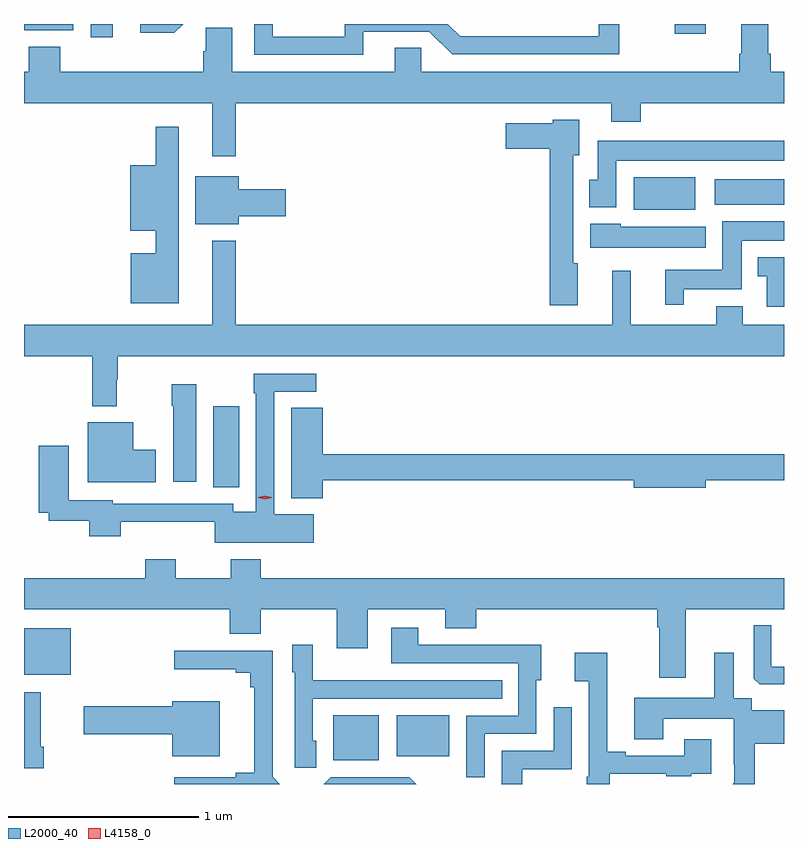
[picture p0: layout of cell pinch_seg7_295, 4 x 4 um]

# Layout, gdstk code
import gdstk
lib = gdstk.Library(unit=1e-6, precision=1e-09)
def R(c, l, rs):  # rectangles x0, y0, x1, y1
    for r in rs: c.add(gdstk.rectangle(r[:2], r[2:], *l))
def P(c, l, *ps):  # polygons
    for p in ps: c.add(gdstk.Polygon(p, *l))
L2000_40 = (2000, 40)
L4158_0 = (4158, 0)

pinch_seg7_295 = lib.new_cell('pinch_seg7_295')
R(pinch_seg7_295, L2000_40, [(556.259,1050.437,556.498,1050.673), (556.592,1050.458,556.87,1050.673), (554.631,1050.887,554.878,1051.132), (555.626,1051.873,555.763,1052.299), (557.84,1053.335,558.163,1053.505), (558.267,1053.362,558.631,1053.496), (554.982,1054.242,555.097,1054.312), (558.055,1054.26,558.22,1054.312), (554.631,1054.278,554.889,1054.312)])
P(pinch_seg7_295, L2000_40, [(556.417,1054.272),(556.764,1054.272),(556.884,1054.152),(557.764,1054.152),(557.764,1054.312),(557.655,1054.312),(557.655,1054.248),(556.926,1054.248),(556.862,1054.312),(556.32,1054.312),(556.32,1054.245),(555.939,1054.245),(555.939,1054.312),(555.843,1054.312),(555.843,1054.149),(556.417,1054.149)],
  [(555.468,1054.312),(555.243,1054.312),(555.243,1054.265),(555.421,1054.265)],
  [(555.745,1053.896),(557.723,1053.896),(557.723,1053.797),(557.876,1053.797),(557.876,1053.896),(558.631,1053.896),(558.631,1054.06),(558.56,1054.06),(558.56,1054.156),(558.547,1054.156),(558.547,1054.312),(558.407,1054.312),(558.407,1054.156),(558.395,1054.156),(558.395,1054.06),(556.722,1054.06),(556.722,1054.187),(556.583,1054.187),(556.583,1054.06),(555.727,1054.06),(555.727,1054.292),(555.588,1054.292),(555.588,1054.169),(555.575,1054.169),(555.575,1054.06),(554.822,1054.06),(554.822,1054.193),(554.657,1054.193),(554.657,1054.06),(554.631,1054.06),(554.631,1053.896),(555.623,1053.896),(555.623,1053.615),(555.745,1053.615)],
  [(557.545,1053.054),(557.521,1053.054),(557.521,1053.621),(557.554,1053.621),(557.554,1053.808),(557.415,1053.808),(557.415,1053.79),(557.166,1053.79),(557.166,1053.656),(557.399,1053.656),(557.399,1052.832),(557.545,1052.832)],
  [(555.445,1053.772),(555.324,1053.772),(555.324,1053.568),(555.191,1053.568),(555.191,1053.224),(555.324,1053.224),(555.324,1053.106),(555.194,1053.106),(555.194,1052.843),(555.445,1052.843)],
  [(557.748,1053.593),(558.631,1053.593),(558.631,1053.697),(557.651,1053.697),(557.651,1053.492),(557.606,1053.492),(557.606,1053.348),(557.748,1053.348)],
  [(555.76,1053.299),(556.009,1053.299),(556.009,1053.441),(555.76,1053.441),(555.76,1053.511),(555.533,1053.511),(555.533,1053.257),(555.76,1053.257)],
  [(558.103,1052.915),(558.409,1052.915),(558.409,1053.17),(558.631,1053.17),(558.631,1053.274),(558.305,1053.274),(558.305,1053.019),(558.005,1053.019),(558.005,1052.835),(558.103,1052.835)],
  [(558.22,1053.244),(557.772,1053.244),(557.772,1053.262),(557.61,1053.262),(557.61,1053.134),(558.22,1053.134)],
  [(555.118,1052.441),(555.125,1052.441),(555.125,1052.564),(558.631,1052.564),(558.631,1052.728),(558.415,1052.728),(558.415,1052.827),(558.275,1052.827),(558.275,1052.728),(557.825,1052.728),(557.825,1053.013),(557.726,1053.013),(557.726,1052.728),(555.745,1052.728),(555.745,1053.172),(555.623,1053.172),(555.623,1052.728),(554.631,1052.728),(554.631,1052.564),(554.989,1052.564),(554.989,1052.301),(555.118,1052.301)],
  [(558.631,1053.085),(558.494,1053.085),(558.494,1052.985),(558.54,1052.985),(558.54,1052.823),(558.631,1052.823)],
  [(556.156,1051.732),(555.948,1051.732),(555.948,1052.376),(556.168,1052.376),(556.168,1052.472),(555.84,1052.472),(555.84,1052.369),(555.852,1052.369),(555.852,1051.744),(555.732,1051.744),(555.732,1051.788),(555.099,1051.788),(555.099,1051.806),(554.866,1051.806),(554.866,1052.092),(554.708,1052.092),(554.708,1051.739),(554.762,1051.739),(554.762,1051.698),(554.975,1051.698),(554.975,1051.616),(555.14,1051.616),(555.14,1051.691),(555.636,1051.691),(555.636,1051.583),(556.156,1051.583)],
  [(555.538,1052.416),(555.409,1052.416),(555.409,1052.303),(555.416,1052.303),(555.416,1051.902),(555.538,1051.902)],
  [(556.204,1051.912),(557.84,1051.912),(557.84,1051.87),(558.22,1051.87),(558.22,1051.912),(558.631,1051.912),(558.631,1052.048),(556.204,1052.048),(556.204,1052.291),(556.037,1052.291),(556.037,1051.817),(556.204,1051.817)],
  [(555.325,1052.072),(555.205,1052.072),(555.205,1052.215),(554.966,1052.215),(554.966,1051.901),(555.325,1051.901)],
  [(558.115,1051.232),(558.631,1051.232),(558.631,1051.396),(555.878,1051.396),(555.878,1051.495),(555.718,1051.495),(555.718,1051.396),(555.429,1051.396),(555.429,1051.495),(555.269,1051.495),(555.269,1051.396),(554.631,1051.396),(554.631,1051.232),(555.713,1051.232),(555.713,1051.104),(555.877,1051.104),(555.877,1051.232),(556.277,1051.232),(556.277,1051.026),(556.441,1051.026),(556.441,1051.232),(556.847,1051.232),(556.847,1051.133),(557.011,1051.133),(557.011,1051.232),(557.963,1051.232),(557.963,1051.136),(557.975,1051.136),(557.975,1050.87),(558.115,1050.87)],
  [(558.631,1050.93),(558.564,1050.93),(558.564,1051.147),(558.471,1051.147),(558.471,1050.867),(558.503,1050.836),(558.631,1050.836)],
  [(557.055,1050.576),(557.328,1050.576),(557.328,1050.858),(557.353,1050.858),(557.353,1051.046),(557.135,1051.046),(557.135,1051.044),(556.705,1051.044),(556.705,1051.135),(556.565,1051.135),(556.565,1050.948),(557.232,1050.948),(557.232,1050.672),(556.959,1050.672),(556.959,1050.348),(557.055,1050.348)],
  [(556.168,1050.54),(556.152,1050.54),(556.152,1050.762),(557.147,1050.762),(557.147,1050.858),(556.469,1050.858),(556.469,1050.859),(556.152,1050.859),(556.152,1051.045),(556.043,1051.045),(556.043,1050.9),(556.056,1050.9),(556.056,1050.397),(556.168,1050.397)],
  [(556.659,1050.348),(556.245,1050.348),(556.209,1050.312),(556.695,1050.312)],
  [(558.477,1050.525),(558.631,1050.525),(558.631,1050.7),(558.462,1050.7),(558.462,1050.764),(558.367,1050.764),(558.367,1051.003),(558.263,1051.003),(558.263,1050.766),(557.843,1050.766),(557.843,1050.547),(557.995,1050.547),(557.995,1050.656),(558.366,1050.656),(558.366,1050.415),(558.368,1050.415),(558.368,1050.32),(558.36,1050.312),(558.477,1050.312)],
  [(557.713,1050.365),(558.011,1050.365),(558.011,1050.354),(558.143,1050.354),(558.143,1050.366),(558.247,1050.366),(558.247,1050.547),(558.107,1050.547),(558.107,1050.462),(557.797,1050.462),(557.797,1050.481),(557.701,1050.481),(557.701,1051.003),(557.529,1051.003),(557.529,1050.854),(557.604,1050.854),(557.604,1050.349),(557.592,1050.349),(557.592,1050.312),(557.713,1050.312)],
  [(554.735,1050.508),(554.718,1050.508),(554.718,1050.796),(554.631,1050.796),(554.631,1050.396),(554.735,1050.396)],
  [(555.661,1050.748),(555.41,1050.748),(555.41,1050.722),(554.946,1050.722),(554.946,1050.575),(555.41,1050.575),(555.41,1050.458),(555.661,1050.458)],
  [(557.253,1050.389),(557.514,1050.389),(557.514,1050.715),(557.418,1050.715),(557.418,1050.486),(557.145,1050.486),(557.145,1050.315),(557.142,1050.312),(557.253,1050.312)],
  [(555.939,1051.014),(555.423,1051.014),(555.423,1050.917),(555.746,1050.917),(555.746,1050.898),(555.823,1050.898),(555.823,1050.821),(555.842,1050.821),(555.842,1050.371),(555.746,1050.371),(555.746,1050.348),(555.423,1050.348),(555.423,1050.312),(555.978,1050.312),(555.939,1050.351)])
P(pinch_seg7_295, L4158_0, [(555.899,1051.81),(555.864,1051.819),(555.864,1051.82),(555.864,1051.82),(555.899,1051.83),(555.934,1051.82),(555.934,1051.82),(555.934,1051.819)])

lib.write_gds('pinch_seg7_295.gds')
